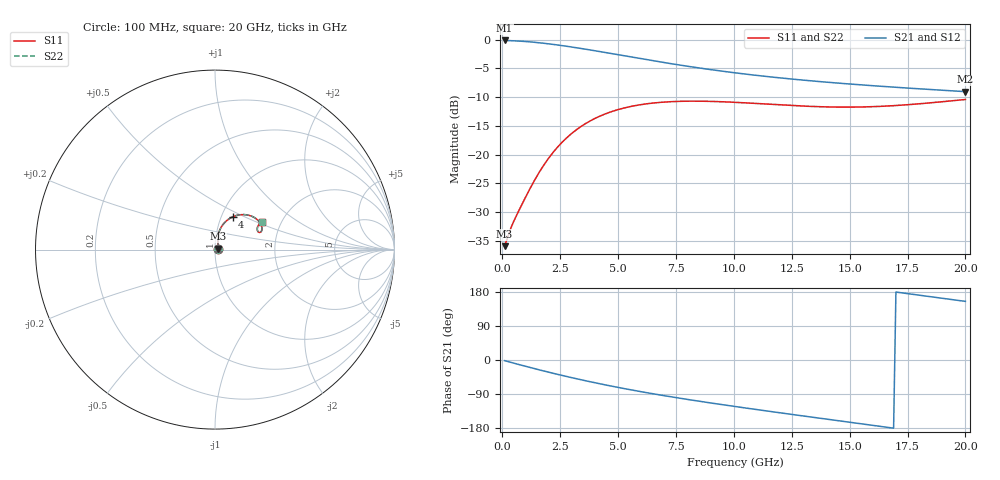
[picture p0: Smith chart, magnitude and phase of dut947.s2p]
! Touchstone file exported from HFSS 2024.1.0
!  File:  C:/UserFiles/LocalFiles/RDL_TSV_Batchsim/temp_RDL_TSV_947_1779964607.aedt
!  Generated:  06:50:25 PM May 28, 2026
!  Design:  RDL_TSV
!  Project:  temp_RDL_TSV_947_1779964607
!  Setup:  Setup1
!  Solution:  Sweep
! Variables:
!  dtsv = 5.46um
!  hbump = 3um
!  htsv = 64.01um
!  ldown = 639.33um
!  lrdl = 295.9um
!  p = 40
!  p1 = 57.25um
!  rhole = 10um
!  subl = 3101.59um
!  t = 450um
!  tdown = 2.76um
!  trdl = 3.19um
!  viad = 10um
!  wdown = 29.47um
!  wrdl = 26.6um
!  xbump = 18um
# GHz S MA R 50.000000
! Terminal data exported
! Port[1] = TM1_1_T1
! Port[2] = TM1_4_T1
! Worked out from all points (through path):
!   200 points, 100 MHz to 20 GHz, reference 50 ohm
!   highest |S21| = -0.14 dB at 100 MHz (marker M1); lowest = -9.0 dB at 20 GHz (marker M2)
!   group delay of S21, straight-line fit = 26.9 ps
!   lowest |S11| = -35.9 dB at 100 MHz (marker M3), VSWR 1.03, Z = 51.6 + j0.482 ohm
!   |S11| at or under -10 dB: start of sweep to end of sweep
!   |S22| runs from -35.9 to -10.4 dB; largest |S21 - S12| = 1e-14
!   S11 on the Smith chart (normalised r, x): 100 MHz: 1.03, +0.01; 4 GHz: 1.13, +0.43; 20 GHz: 1.59, +0.54
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0.1  0.016 17.0  0.9845 -1.7  0.9845 -1.7  0.016 17.0
! Gamma 0 0 0 0
! Port Impedance 50 0 50 0
0.4  0.02377 43.9  0.9796 -6.8  0.9796 -6.8  0.02377 43.9
0.6  0.02923 53.6  0.9753 -10.1  0.9753 -10.1  0.02923 53.6
1.2  0.05078 72.0  0.9568 -19.8  0.9568 -19.8  0.05079 72.0
1.7  0.07597 77.1  0.9353 -27.6  0.9353 -27.6  0.07599 77.2
2.1  0.09903 77.2  0.915 -33.7  0.915 -33.7  0.09908 77.2
2.5  0.1231 75.2  0.8927 -39.5  0.8927 -39.5  0.1232 75.3
3  0.153 71.4  0.8631 -46.7  0.8631 -46.7  0.1532 71.4
3.5  0.1812 66.7  0.8324 -53.5  0.8324 -53.5  0.1813 66.8
4  0.2065 61.8  0.8013 -60.0  0.8013 -60.0  0.2067 61.8
4.6  0.2323 56.0  0.7642 -67.6  0.7642 -67.6  0.2325 56.0
5.2  0.2529 50.4  0.7283 -74.7  0.7283 -74.7  0.2531 50.5
6  0.2726 43.8  0.683 -83.7  0.683 -83.7  0.2729 43.8
6.8  0.2847 38.0  0.6416 -92.2  0.6416 -92.2  0.285 38.0
8.4  0.292 29.1  0.5712 -107.8  0.5712 -107.8  0.2923 29.1
10.1  0.2849 23.4  0.5134 -123.2  0.5134 -123.2  0.2853 23.4
11.7  0.2732 21.1  0.4717 -136.9  0.4717 -136.9  0.2736 21.1
13.4  0.2624 21.6  0.4373 -151.1  0.4373 -151.1  0.2629 21.6
15  0.259 24.0  0.4116 -164.3  0.4116 -164.3  0.2595 24.0
16.7  0.2653 27.2  0.3889 -178.2  0.3889 -178.2  0.2658 27.2
18.3  0.2801 29.6  0.3706 168.6  0.3706 168.6  0.2806 29.6
20  0.3018 30.7  0.3533 154.7  0.3533 154.7  0.3023 30.7
